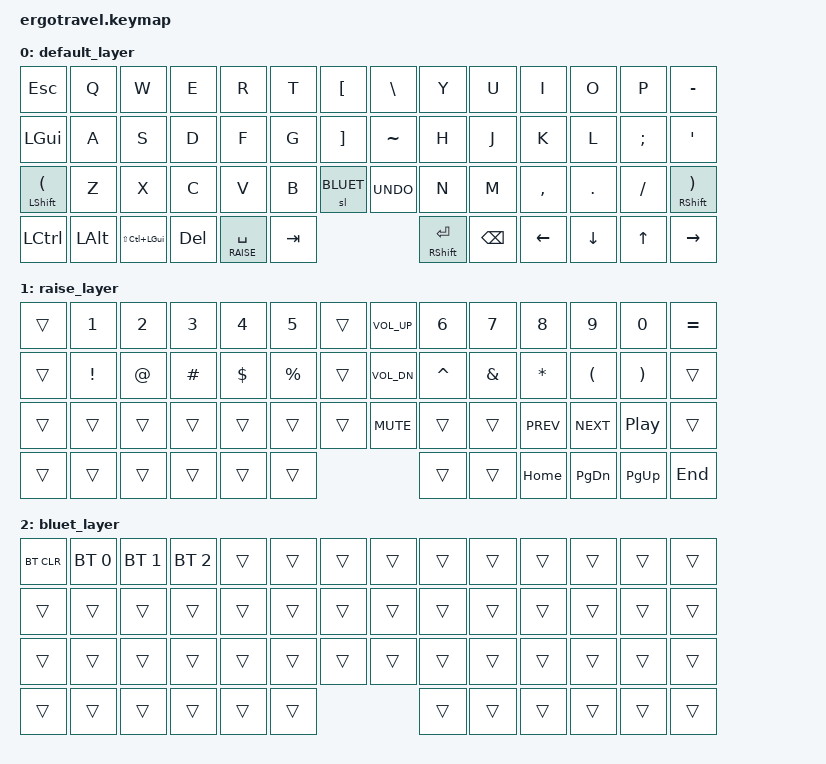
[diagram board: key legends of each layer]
/*
 * Copyright (c) 2020 The ZMK Contributors
 *
 * SPDX-License-Identifier: MIT
 */

#include <behaviors.dtsi>
#include <dt-bindings/zmk/keys.h>
#include <dt-bindings/zmk/bt.h>
#include <dt-bindings/zmk/ext_power.h>


#define DEFAULT 0
#define RAISE 1
#define BLUET 2

#define HYPER LS(LC(LGUI))

&lt {
    tapping-term-ms = <300>;
};

&mt {
    tapping-term-ms = <300>;
};

&sl {
    release-after-ms = <2000>;
};

/ {
	keymap {
		compatible = "zmk,keymap";

		default_layer {
    bindings = <
&kp ESC         &kp Q     &kp W      &kp E    &kp R  &kp T  &kp LBKT        &kp BSLH    &kp Y  &kp U     &kp I     &kp O    &kp P     &kp MINUS 
&kp LGUI        &kp A     &kp S      &kp D    &kp F  &kp G  &kp RBKT        &kp TILDE   &kp H  &kp J     &kp K     &kp L    &kp SEMI  &kp SINGLE_QUOTE 
&mt LSHFT LPAR  &kp Z     &kp X      &kp C    &kp V  &kp B  &sl BLUET       &kp K_UNDO  &kp N  &kp M     &kp COMMA &kp DOT  &kp FSLH  &mt RSHFT RPAR
&kp LCTRL       &kp LALT  &kp HYPER  &kp DEL  &lt RAISE SPACE &kp TAB            &mt RSHFT RET &kp BSPC  &kp LEFT  &kp DOWN &kp UP    &kp RIGHT
>;
		};

    raise_layer {
    bindings = <
&trans          &kp N1  &kp N2  &kp N3   &kp N4   &kp N5    &trans          &kp C_VOL_UP  &kp N6    &kp N7   &kp N8      &kp N9      &kp N0    &kp EQUAL
&trans          &kp EXCL &kp AT &kp HASH &kp DLLR &kp PRCNT &trans          &kp C_VOL_DN  &kp CARET &kp AMPS &kp STAR    &kp LPAR    &kp RPAR  &trans 
&trans          &trans  &trans  &trans   &trans  &trans     &trans          &kp C_MUTE    &trans    &trans   &kp C_PREV  &kp C_NEXT  &kp C_PP  &trans
&trans          &trans  &trans  &trans   &trans  &trans                                   &trans    &trans   &kp HOME    &kp PG_DN   &kp PG_UP &kp END
>;
    		};


  bluet_layer {
    bindings = <
&bt BT_CLR      &bt BT_SEL 0 &bt BT_SEL 1 &bt BT_SEL 2 &trans  &trans  &trans              &trans  &trans  &trans &trans &trans &trans &trans
&trans          &trans       &trans       &trans       &trans  &trans  &trans              &trans  &trans  &trans &trans &trans &trans &trans
&trans          &trans       &trans       &trans       &trans  &trans  &trans              &trans  &trans  &trans &trans &trans &trans &trans
&trans          &trans       &trans       &trans       &trans  &trans                              &trans  &trans &trans &trans &trans &trans
>;
        };


	};
};
